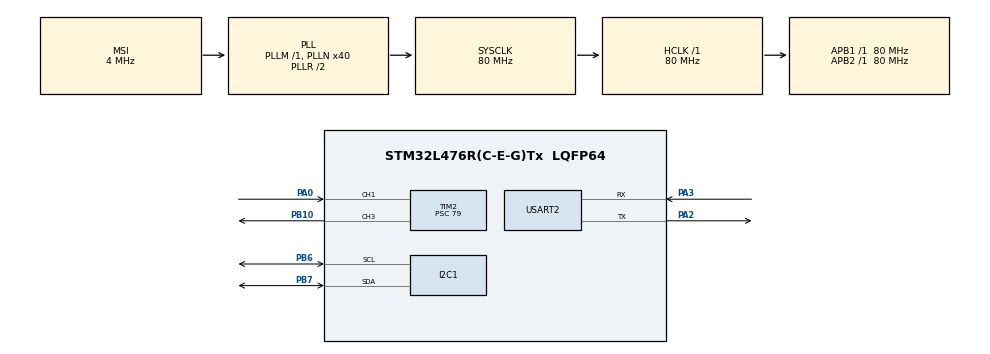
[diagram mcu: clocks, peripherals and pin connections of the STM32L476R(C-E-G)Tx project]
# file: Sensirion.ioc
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I2C1.Speed=50
I2C1.Timing=0x30408CFF
Mcu.Family=STM32L4
Mcu.Name=STM32L476R(C-E-G)Tx
Mcu.Package=LQFP64
NVIC.PriorityGroup=NVIC_PRIORITYGROUP_4
NVIC.TIM2_IRQn=true\:10\:0\:true\:false\:true\:true\:true
NVIC.TIM6_DAC_IRQn=true\:9\:0\:true\:false\:true\:true\:true
NVIC.USART2_IRQn=true\:0\:0\:false\:false\:true\:true\:true
PA0.Signal=S_TIM2_CH1
PA13\ (JTMS-SWDIO).Mode=Serial_Wire
PA13\ (JTMS-SWDIO).Signal=SYS_JTMS-SWDIO
PA14\ (JTCK-SWCLK).Mode=Serial_Wire
PA14\ (JTCK-SWCLK).Signal=SYS_JTCK-SWCLK
PA2.Mode=Asynchronous
PA2.Signal=USART2_TX
PA3.Mode=Asynchronous
PA3.Signal=USART2_RX
PB10.Signal=S_TIM2_CH3
PB6.Mode=I2C
PB6.Signal=I2C1_SCL
PB7.Mode=I2C
PB7.Signal=I2C1_SDA
ProjectManager.HeapSize=0x200
ProjectManager.StackSize=0x400
ProjectManager.TargetToolchain=STM32CubeIDE
RCC.AHBFreq_Value=80000000
RCC.APB1Freq_Value=80000000
RCC.APB1TimFreq_Value=80000000
RCC.APB2Freq_Value=80000000
RCC.APB2TimFreq_Value=80000000
RCC.CortexFreq_Value=80000000
RCC.HCLKFreq_Value=80000000
RCC.HSE_VALUE=8000000
RCC.HSI_VALUE=16000000
RCC.LSE_VALUE=32768
RCC.MSI_VALUE=4000000
RCC.PLLN=40
RCC.SYSCLKFreq_VALUE=80000000
RCC.SYSCLKSource=RCC_SYSCLKSOURCE_PLLCLK
RCC.VCOOutputFreq_Value=160000000
SH.S_TIM2_CH1.0=TIM2_CH1,Input_Capture1_from_TI1
SH.S_TIM2_CH3.0=TIM2_CH3,PWM Generation3 CH3
TIM2.AutoReloadPreload=TIM_AUTORELOAD_PRELOAD_DISABLE
TIM2.Channel-Input_Capture1_from_TI1=TIM_CHANNEL_1
TIM2.Channel-Input_Capture2_from_TI1_63=TIM_CHANNEL_2
TIM2.Channel-PWM\ Generation3\ CH3=TIM_CHANNEL_3
TIM2.ICPolarity_CH2=TIM_INPUTCHANNELPOLARITY_FALLING
TIM2.Period=999999
TIM2.Prescaler=79
TIM2.Pulse-PWM\ Generation3\ CH3=10
TIM6.Period=49999
TIM6.Prescaler=7999
USART2.VirtualMode-Asynchronous=VM_ASYNC
VP_TIM2_VS_ClockSourceINT.Mode=Internal
VP_TIM2_VS_indirect_ch1.Mode=Input_Capture2_from_TI1_63
VP_TIM6_VS_ClockSourceINT.Mode=Enable_Timer
board=custom

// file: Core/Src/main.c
/* USER CODE BEGIN Header */
/**
  ******************************************************************************
  * @file           : main.c
  * @brief          : Main program body
  ******************************************************************************
  * @attention
  *
  * Copyright (c) 2021 STMicroelectronics.
  * All rights reserved.
  *
  * This software is licensed under terms that can be found in the LICENSE file
  * in the root directory of this software component.
  * If no LICENSE file comes with this software, it is provided AS-IS.
  *
  ******************************************************************************
  */
/* USER CODE END Header */
#include "main.h"
#include "i2c.h"
#include "tim.h"
#include "usart.h"
#include "gpio.h"

/* USER CODE BEGIN Includes */
#include <stdio.h>
#include "printf_uart.h"
#include "scd30.h"
/* USER CODE END Includes */

/* USER CODE BEGIN PV */

uint8_t readValue;
static const uint8_t addEksp = 0x40 << 1;
uint8_t znak;
/* USER CODE END PV */

void SystemClock_Config(void);

int main(void)
{

  /* MCU Configuration--------------------------------------------------------*/

  /* Reset of all peripherals, Initializes the Flash interface and the Systick. */
  HAL_Init();

  /* Configure the system clock */
  SystemClock_Config();

  /* Initialize all configured peripherals */
  MX_GPIO_Init();
  MX_I2C1_Init();
  MX_USART2_UART_Init();
  MX_TIM2_Init();
  MX_TIM6_Init();
  /* USER CODE BEGIN 2 */

  HAL_TIM_Base_Start_IT(&htim2);
  HAL_TIM_Base_Start_IT(&htim6);
  HAL_TIM_IC_Start(&htim2, TIM_CHANNEL_1);
  HAL_TIM_IC_Start(&htim2, TIM_CHANNEL_2);
  HAL_TIM_PWM_Start(&htim2, TIM_CHANNEL_3);
  HAL_UART_Receive_IT(&huart2, &znak, 1);

  printf("Witam Pana prezesa!\n");

 // readfirm();
 // altComp();
 // interRead();
 // triggerStart();

  /* USER CODE END 2 */

  /* Infinite loop */
  /* USER CODE BEGIN WHILE */

  uint8_t ekspander;

//  HAL_I2C_Mem_Read(&hi2c1, 0x40, 0x01, 1, 0x02, 1, HAL_MAX_DELAY);  P0 ON

  printf("Odczytane wartosci: %d\n", ekspander);

while (1) {

	if(readValue == 1)
	{
	//	printf("Odczytane wartosci:\n");
	//	odczyt();
		readValue = 0;
	}

    /* USER CODE END WHILE */

  }
}

void SystemClock_Config(void)
{
  RCC_OscInitTypeDef RCC_OscInitStruct = {0};
  RCC_ClkInitTypeDef RCC_ClkInitStruct = {0};

  /** Configure the main internal regulator output voltage
  */
  if (HAL_PWREx_ControlVoltageScaling(PWR_REGULATOR_VOLTAGE_SCALE1) != HAL_OK)
  {
    Error_Handler();
  }
  /** Initializes the RCC Oscillators according to the specified parameters
  * in the RCC_OscInitTypeDef structure.
  */
  RCC_OscInitStruct.OscillatorType = RCC_OSCILLATORTYPE_MSI;
  RCC_OscInitStruct.MSIState = RCC_MSI_ON;
  RCC_OscInitStruct.MSICalibrationValue = 0;
  RCC_OscInitStruct.MSIClockRange = RCC_MSIRANGE_6;
  RCC_OscInitStruct.PLL.PLLState = RCC_PLL_ON;
  RCC_OscInitStruct.PLL.PLLSource = RCC_PLLSOURCE_MSI;
  RCC_OscInitStruct.PLL.PLLM = 1;
  RCC_OscInitStruct.PLL.PLLN = 40;
  RCC_OscInitStruct.PLL.PLLP = RCC_PLLP_DIV7;
  RCC_OscInitStruct.PLL.PLLQ = RCC_PLLQ_DIV2;
  RCC_OscInitStruct.PLL.PLLR = RCC_PLLR_DIV2;
  if (HAL_RCC_OscConfig(&RCC_OscInitStruct) != HAL_OK)
  {
    Error_Handler();
  }
  /** Initializes the CPU, AHB and APB buses clocks
  */
  RCC_ClkInitStruct.ClockType = RCC_CLOCKTYPE_HCLK|RCC_CLOCKTYPE_SYSCLK
                              |RCC_CLOCKTYPE_PCLK1|RCC_CLOCKTYPE_PCLK2;
  RCC_ClkInitStruct.SYSCLKSource = RCC_SYSCLKSOURCE_PLLCLK;
  RCC_ClkInitStruct.AHBCLKDivider = RCC_SYSCLK_DIV1;
  RCC_ClkInitStruct.APB1CLKDivider = RCC_HCLK_DIV1;
  RCC_ClkInitStruct.APB2CLKDivider = RCC_HCLK_DIV1;

  if (HAL_RCC_ClockConfig(&RCC_ClkInitStruct, FLASH_LATENCY_4) != HAL_OK)
  {
    Error_Handler();
  }
}

/* USER CODE BEGIN 4 */

void HAL_TIM_PeriodElapsedCallback(TIM_HandleTypeDef *htim)
{
	if(htim == &htim6)
	{
		readValue = 1;
	}else if(htim == &htim2)
	{
			//	uint32_t start = HAL_TIM_ReadCapturedValue(&htim2, TIM_CHANNEL_1);
			//	uint32_t stop = HAL_TIM_ReadCapturedValue(&htim2, TIM_CHANNEL_2);
			//	printf("Dystans = %.1f cm\n", (stop - start) / 58.0f);
	}
}

void HAL_UART_RxCpltCallback(UART_HandleTypeDef *huart)
{
	if(huart -> Instance == USART2)
	{
		 HAL_I2C_Master_Transmit(&hi2c1, 0x40, &znak, 1, HAL_MAX_DELAY);
		 printf("Zapisano wartosc: %d\n", znak);
	}
		HAL_UART_Receive_IT(&huart2, &znak, 1);
}
/* USER CODE END 4 */

void Error_Handler(void)
{
  __disable_irq();
  while (1)
  {
  }
}
